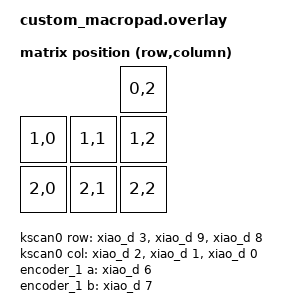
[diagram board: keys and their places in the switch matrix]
#include <dt-bindings/zmk/matrix_transform.h>
#include <dt-bindings/led/led.h>

/ {
    chosen {
        zmk,kscan = &kscan0;
        zmk,matrix-transform = &default_transform;
        zephyr,display = &oled;
        zmk,underglow = &led_strip;
        zmk,battery = &vbatt;
    };

    ext-power {
        compatible = "zmk,ext-power-generic";
        control-gpios = <&xiao_d 10 GPIO_ACTIVE_HIGH>;
        init-delay-ms = <50>;
    };

    vbatt: vbatt {
        compatible = "zmk,battery-voltage-divider";
        io-channels = <&adc 2>;
        output-ohms = <2000000>;
        full-ohms = <2510000>;
    };

    kscan0: kscan_0 {
        compatible = "zmk,kscan-gpio-matrix";
        diode-direction = "col2row";
        wakeup-source;

        col-gpios
            = <&xiao_d 2 GPIO_ACTIVE_HIGH>
            , <&xiao_d 1 GPIO_ACTIVE_HIGH>
            , <&xiao_d 0 GPIO_ACTIVE_HIGH>
            ;

        row-gpios
            = <&xiao_d 3 (GPIO_ACTIVE_HIGH | GPIO_PULL_DOWN)>
            , <&xiao_d 9 (GPIO_ACTIVE_HIGH | GPIO_PULL_DOWN)>
            , <&xiao_d 8 (GPIO_ACTIVE_HIGH | GPIO_PULL_DOWN)>
            ;
    };

    default_transform: keymap_transform_0 {
        compatible = "zmk,matrix-transform";
        columns = <3>;
        rows = <3>;
        map = <
                            RC(0,2)
            RC(1,0) RC(1,1) RC(1,2)
            RC(2,0) RC(2,1) RC(2,2)
        >;
    };

    encoder_1: encoder_1 {
        compatible = "alps,ec11";
        a-gpios = <&xiao_d 6 (GPIO_ACTIVE_HIGH | GPIO_PULL_UP)>;
        b-gpios = <&xiao_d 7 (GPIO_ACTIVE_HIGH | GPIO_PULL_UP)>;
        steps = <80>;
        status = "okay";
    };

    sensors: sensors {
        compatible = "zmk,keymap-sensors";
        sensors = <&encoder_1>;
        triggers-per-rotation = <20>;
    };
};

&xiao_i2c {
    status = "okay";

    oled: ssd1306@3c {
        compatible = "solomon,ssd1306fb";
        reg = <0x3c>;
        width = <128>;
        height = <32>;
        segment-offset = <0>;
        page-offset = <0>;
        display-offset = <0>;
        multiplex-ratio = <31>;
        segment-remap;
        com-invdir;
        com-sequential;
        prechargep = <0x22>;
    };
};

&pinctrl {
    spi2_default: spi2_default {
        group1 {
            psels = <NRF_PSEL(SPIM_MOSI, 0, 3)>;
        };
    };
    spi2_sleep: spi2_sleep {
        group1 {
            psels = <NRF_PSEL(SPIM_MOSI, 0, 3)>;
            low-power-enable;
        };
    };
};

&spi2 {
    compatible = "nordic,nrf-spim";
    status = "okay";
    pinctrl-0 = <&spi2_default>;
    pinctrl-1 = <&spi2_sleep>;
    pinctrl-names = "default", "sleep";

    led_strip: ws2812@0 {
        compatible = "worldsemi,ws2812-spi";
        reg = <0>;
        spi-max-frequency = <4000000>;
        chain-length = <6>;
        spi-one-frame = <0x70>;
        spi-zero-frame = <0x40>;
        color-mapping = <LED_COLOR_ID_GREEN LED_COLOR_ID_RED LED_COLOR_ID_BLUE LED_COLOR_ID_WHITE>;
    };
};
